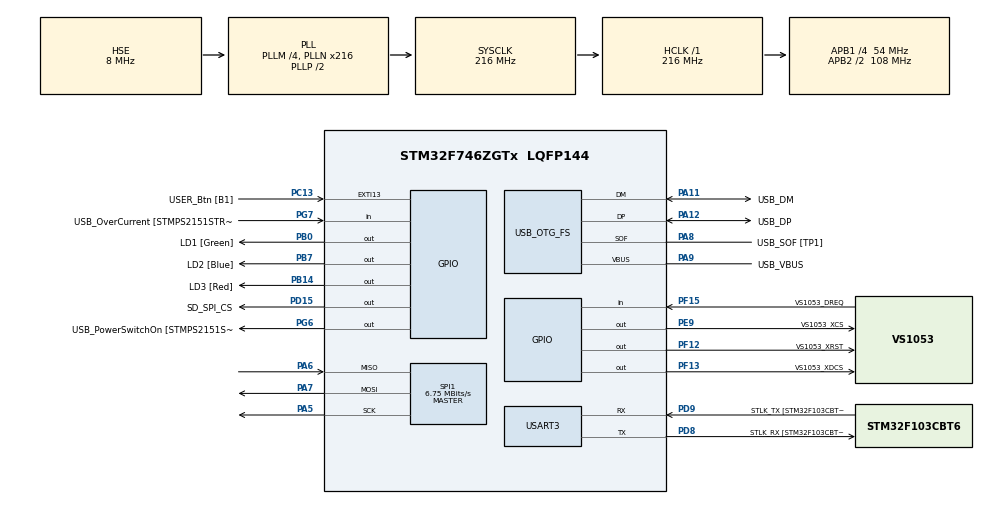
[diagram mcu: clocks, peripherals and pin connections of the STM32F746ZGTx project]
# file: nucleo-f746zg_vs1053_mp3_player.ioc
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FATFS._MAX_SS=4096
FATFS._USE_LFN=1
Mcu.Family=STM32F7
Mcu.Name=STM32F746ZGTx
Mcu.Package=LQFP144
NVIC.PriorityGroup=NVIC_PRIORITYGROUP_4
NVIC.USART3_IRQn=true\:0\:0\:false\:false\:true\:true\:true\:true
PA10.GPIO_Label=USB_ID
PA10.Signal=USB_OTG_FS_ID
PA11.GPIO_Label=USB_DM
PA11.Mode=Device_Only
PA11.Signal=USB_OTG_FS_DM
PA12.GPIO_Label=USB_DP
PA12.Mode=Device_Only
PA12.Signal=USB_OTG_FS_DP
PA13.GPIO_Label=TMS
PA13.Mode=Serial_Wire
PA13.Signal=SYS_JTMS-SWDIO
PA14.GPIO_Label=TCK
PA14.Mode=Serial_Wire
PA14.Signal=SYS_JTCK-SWCLK
PA5.Mode=Full_Duplex_Master
PA5.Signal=SPI1_SCK
PA6.Mode=Full_Duplex_Master
PA6.Signal=SPI1_MISO
PA7.Mode=Full_Duplex_Master
PA7.Signal=SPI1_MOSI
PA8.GPIO_Label=USB_SOF [TP1]
PA8.Mode=Activate_SOF_FS
PA8.Signal=USB_OTG_FS_SOF
PA9.GPIO_Label=USB_VBUS
PA9.Mode=Activate_VBUS
PA9.Signal=USB_OTG_FS_VBUS
PB0.GPIO_Label=LD1 [Green]
PB0.GPIO_Speed=GPIO_SPEED_FREQ_VERY_HIGH
PB0.Signal=GPIO_Output
PB14.GPIO_Label=LD3 [Red]
PB14.GPIO_Speed=GPIO_SPEED_FREQ_VERY_HIGH
PB14.Signal=GPIO_Output
PB7.GPIO_Label=LD2 [Blue]
PB7.GPIO_Speed=GPIO_SPEED_FREQ_VERY_HIGH
PB7.Signal=GPIO_Output
PC13.GPIO_Label=USER_Btn [B1]
PC13.Signal=GPXTI13
PC14/OSC32_IN.Mode=LSE-External-Oscillator
PC14/OSC32_IN.Signal=RCC_OSC32_IN
PC15/OSC32_OUT.Mode=LSE-External-Oscillator
PC15/OSC32_OUT.Signal=RCC_OSC32_OUT
PD15.GPIO_Label=SD_SPI_CS
PD15.GPIO_Speed=GPIO_SPEED_FREQ_VERY_HIGH
PD15.PinState=GPIO_PIN_SET
PD15.Signal=GPIO_Output
PD8.GPIO_Label=STLK_RX [STM32F103CBT6_PA3]
PD8.Mode=Asynchronous
PD8.Signal=USART3_TX
PD9.GPIO_Label=STLK_TX [STM32F103CBT6_PA2]
PD9.Mode=Asynchronous
PD9.Signal=USART3_RX
PE9.GPIO_Label=VS1053_XCS
PE9.GPIO_Speed=GPIO_SPEED_FREQ_VERY_HIGH
PE9.PinState=GPIO_PIN_SET
PE9.Signal=GPIO_Output
PF12.GPIO_Label=VS1053_XRST
PF12.GPIO_Speed=GPIO_SPEED_FREQ_VERY_HIGH
PF12.PinState=GPIO_PIN_SET
PF12.Signal=GPIO_Output
PF13.GPIO_Label=VS1053_XDCS
PF13.GPIO_Speed=GPIO_SPEED_FREQ_VERY_HIGH
PF13.PinState=GPIO_PIN_SET
PF13.Signal=GPIO_Output
PF15.GPIO_Label=VS1053_DREQ
PF15.Signal=GPIO_Input
PG6.GPIO_Label=USB_PowerSwitchOn [STMPS2151STR_EN]
PG6.GPIO_Speed=GPIO_SPEED_FREQ_VERY_HIGH
PG6.Signal=GPIO_Output
PG7.GPIO_Label=USB_OverCurrent [STMPS2151STR_FAULT]
PG7.Signal=GPIO_Input
PH0/OSC_IN.GPIO_Label=MCO [STM32F103CBT6_PA8]
PH0/OSC_IN.Mode=HSE-External-Clock-Source
PH0/OSC_IN.Signal=RCC_OSC_IN
PH1/OSC_OUT.Mode=HSE-External-Clock-Source
PH1/OSC_OUT.Signal=RCC_OSC_OUT
ProjectManager.HeapSize=0x2000
ProjectManager.StackSize=0x4000
ProjectManager.TargetToolchain=STM32CubeIDE
RCC.48MHZClocksFreq_Value=24000000
RCC.AHBFreq_Value=216000000
RCC.APB1CLKDivider=RCC_HCLK_DIV4
RCC.APB1Freq_Value=54000000
RCC.APB1TimFreq_Value=108000000
RCC.APB2CLKDivider=RCC_HCLK_DIV2
RCC.APB2Freq_Value=108000000
RCC.APB2TimFreq_Value=216000000
RCC.CortexFreq_Value=216000000
RCC.HCLKFreq_Value=216000000
RCC.HSE_VALUE=8000000
RCC.HSI_VALUE=16000000
RCC.PLLM=4
RCC.PLLMUL=RCC_PLL_MUL9
RCC.PLLN=216
RCC.PLLQ=9
RCC.PRESCALERUSB=RCC_USBCLKSOURCE_PLL_DIV1_5
RCC.SYSCLKFreq_VALUE=216000000
RCC.SYSCLKSource=RCC_SYSCLKSOURCE_PLLCLK
RCC.SYSCLKSourceVirtual=RCC_SYSCLKSOURCE_PLLCLK
RCC.USBFreq_Value=48000000
RCC.VCOOutputFreq_Value=432000000
SPI1.BaudRatePrescaler=SPI_BAUDRATEPRESCALER_16
SPI1.CalculateBaudRate=6.75 MBits/s
SPI1.DataSize=SPI_DATASIZE_8BIT
SPI1.Direction=SPI_DIRECTION_2LINES
SPI1.Mode=SPI_MODE_MASTER
SPI1.VirtualType=VM_MASTER
USART3.VirtualMode-Asynchronous=VM_ASYNC
USB_OTG_FS.VirtualMode=Device_Only
VP_FATFS_VS_Generic.Mode=User_defined
board=NUCLEO-F746ZG

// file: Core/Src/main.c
/* USER CODE BEGIN Header */
/**
  ******************************************************************************
  * @file           : main.c
  * @brief          : Main program body
  ******************************************************************************
  * @attention
  *
  * <h2><center>&copy; Copyright (c) 2021 STMicroelectronics.
  * All rights reserved.</center></h2>
  *
  * This software component is licensed by ST under BSD 3-Clause license,
  * the "License"; You may not use this file except in compliance with the
  * License. You may obtain a copy of the License at:
  *                        opensource.org/licenses/BSD-3-Clause
  *
  ******************************************************************************
  */
/* USER CODE END Header */
#include "main.h"
#include "fatfs.h"
#include "spi.h"
#include "usart.h"
#include "usb_otg.h"
#include "gpio.h"

/* USER CODE BEGIN Includes */
#include "MP3_Player.h"
/* USER CODE END Includes */

/* USER CODE BEGIN PV */
uint8_t SerialFlag = 0;
uint8_t SerialCmd = 0;
/* USER CODE END PV */

void SystemClock_Config(void);

int main(void)
{

  /* MCU Configuration--------------------------------------------------------*/

  /* Reset of all peripherals, Initializes the Flash interface and the Systick. */
  HAL_Init();

  /* Configure the system clock */
  SystemClock_Config();

  /* Initialize all configured peripherals */
  MX_GPIO_Init();
  MX_USART3_UART_Init();
  MX_USB_OTG_FS_PCD_Init();
  MX_SPI1_Init();
  MX_FATFS_Init();
  /* USER CODE BEGIN 2 */
  HAL_UART_Receive_IT(&huart3, &SerialCmd, 1);

  if (!MP3_Init())
    Error_Handler();
  /* USER CODE END 2 */

  /* Infinite loop */
  while (1)
  {

    /* USER CODE BEGIN 3 */
    if (SerialFlag)
    {
      SerialFlag = 0;

      switch (SerialCmd)
      {
        case '1':
          MP3_Play("01.mp3", FILE_TYPE_MP3);
          break;
        case '2':
          MP3_Play("02.mp3", FILE_TYPE_MP3);
          break;
        case '3':
          MP3_Play("03.mp3", FILE_TYPE_MP3);
          break;
#ifdef VS1053_SUPPORT_FLAC
        case '4':
          MP3_Play("04.flac", FILE_TYPE_FLAC);
          break;
#endif
        case 'p':
        case 'P':
          isPlaying = !isPlaying;
          break;
        case 's':
        case 'S':
          MP3_Stop();
          break;
        default:
          break;
      }
    }

    MP3_Feeder();
  }
  /* USER CODE END 3 */
}

void SystemClock_Config(void)
{
  RCC_OscInitTypeDef RCC_OscInitStruct = {0};
  RCC_ClkInitTypeDef RCC_ClkInitStruct = {0};

  /** Configure LSE Drive Capability
  */
  HAL_PWR_EnableBkUpAccess();

  /** Configure the main internal regulator output voltage
  */
  __HAL_RCC_PWR_CLK_ENABLE();
  __HAL_PWR_VOLTAGESCALING_CONFIG(PWR_REGULATOR_VOLTAGE_SCALE1);

  /** Initializes the RCC Oscillators according to the specified parameters
  * in the RCC_OscInitTypeDef structure.
  */
  RCC_OscInitStruct.OscillatorType = RCC_OSCILLATORTYPE_HSE;
  RCC_OscInitStruct.HSEState = RCC_HSE_BYPASS;
  RCC_OscInitStruct.PLL.PLLState = RCC_PLL_ON;
  RCC_OscInitStruct.PLL.PLLSource = RCC_PLLSOURCE_HSE;
  RCC_OscInitStruct.PLL.PLLM = 4;
  RCC_OscInitStruct.PLL.PLLN = 216;
  RCC_OscInitStruct.PLL.PLLP = RCC_PLLP_DIV2;
  RCC_OscInitStruct.PLL.PLLQ = 9;
  if (HAL_RCC_OscConfig(&RCC_OscInitStruct) != HAL_OK)
  {
    Error_Handler();
  }

  /** Activate the Over-Drive mode
  */
  if (HAL_PWREx_EnableOverDrive() != HAL_OK)
  {
    Error_Handler();
  }

  /** Initializes the CPU, AHB and APB buses clocks
  */
  RCC_ClkInitStruct.ClockType = RCC_CLOCKTYPE_HCLK|RCC_CLOCKTYPE_SYSCLK
                              |RCC_CLOCKTYPE_PCLK1|RCC_CLOCKTYPE_PCLK2;
  RCC_ClkInitStruct.SYSCLKSource = RCC_SYSCLKSOURCE_PLLCLK;
  RCC_ClkInitStruct.AHBCLKDivider = RCC_SYSCLK_DIV1;
  RCC_ClkInitStruct.APB1CLKDivider = RCC_HCLK_DIV4;
  RCC_ClkInitStruct.APB2CLKDivider = RCC_HCLK_DIV2;

  if (HAL_RCC_ClockConfig(&RCC_ClkInitStruct, FLASH_LATENCY_7) != HAL_OK)
  {
    Error_Handler();
  }
}

/* USER CODE BEGIN 4 */
void HAL_UART_RxCpltCallback(UART_HandleTypeDef *huart)
{
  if (huart->Instance == huart3.Instance)
  {
    SerialFlag = 1;
    HAL_UART_Receive_IT(&huart3, &SerialCmd, 1);
  }
}
/* USER CODE END 4 */

void Error_Handler(void)
{
  __disable_irq();
  while (1)
  {
  }
}
